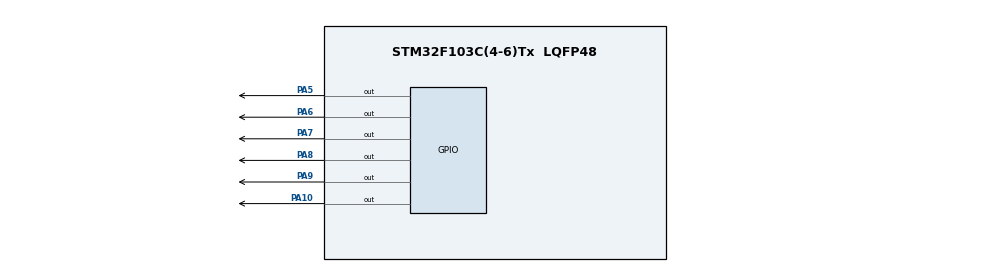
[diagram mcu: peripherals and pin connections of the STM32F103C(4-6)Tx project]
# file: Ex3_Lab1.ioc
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Mcu.Family=STM32F1
Mcu.Name=STM32F103C(4-6)Tx
Mcu.Package=LQFP48
NVIC.PriorityGroup=NVIC_PRIORITYGROUP_4
PA10.Signal=GPIO_Output
PA5.Signal=GPIO_Output
PA6.Signal=GPIO_Output
PA7.Signal=GPIO_Output
PA8.Signal=GPIO_Output
PA9.Signal=GPIO_Output
ProjectManager.HeapSize=0x200
ProjectManager.StackSize=0x400
ProjectManager.TargetToolchain=STM32CubeIDE
RCC.APB1Freq_Value=8000000
RCC.APB2Freq_Value=8000000
board=custom

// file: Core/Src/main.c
/* USER CODE BEGIN Header */
/**
  ******************************************************************************
  * @file           : main.c
  * @brief          : Main program body
  ******************************************************************************
  * @attention
  *
  * Copyright (c) 2025 STMicroelectronics.
  * All rights reserved.
  *
  * This software is licensed under terms that can be found in the LICENSE file
  * in the root directory of this software component.
  * If no LICENSE file comes with this software, it is provided AS-IS.
  *
  ******************************************************************************
  */
/* USER CODE END Header */
#include "main.h"

void SystemClock_Config(void);
static void MX_GPIO_Init(void);
/* USER CODE BEGIN PFP */
void led_1(int *f1, int *t1){
	if((*f1 == 1) && (*t1 == 0)){
		*f1 = 2;
		*t1 = 3;
	}
	else if ((*f1 == 2) && (*t1 == 0)){
		*f1 = 3;
		*t1 = 2;
	}
	else if ((*f1 == 3) && (*t1 == 0)){
		*f1 = 1;
		*t1 = 5;
	}

	if(*f1 == 1){
		HAL_GPIO_WritePin(GPIOA, GPIO_PIN_5, SET);
		HAL_GPIO_WritePin(GPIOA, GPIO_PIN_6, RESET);
	}
	else if(*f1 == 2){
		HAL_GPIO_WritePin(GPIOA, GPIO_PIN_7, SET);
		HAL_GPIO_WritePin(GPIOA, GPIO_PIN_5, RESET);
	}
	else if(*f1 == 3){
		HAL_GPIO_WritePin(GPIOA, GPIO_PIN_6, SET);
		HAL_GPIO_WritePin(GPIOA, GPIO_PIN_7, RESET);
	}
	else{
		HAL_GPIO_WritePin(GPIOA, GPIO_PIN_6, SET);
		HAL_GPIO_WritePin(GPIOA, GPIO_PIN_7, RESET);
	}
	(*t1)--;
}
void led_2(int *f2, int *t2){
	if((*f2 == 1) && (*t2 == 0)){
		*f2 = 2;
		*t2 = 3;
	}
	else if((*f2 == 2) && (*t2 == 0)){
		*f2 = 3;
		*t2 = 2;
	}
	else if((*f2 == 3) && (*t2 == 0)){
		*f2 = 1;
		*t2 = 5;
	}
	if(*f2 == 1){
		HAL_GPIO_WritePin(GPIOA, GPIO_PIN_9, RESET);
		HAL_GPIO_WritePin(GPIOA, GPIO_PIN_8, SET);
	}
	else if(*f2 == 2){
		HAL_GPIO_WritePin(GPIOA, GPIO_PIN_8, RESET);
		HAL_GPIO_WritePin(GPIOA, GPIO_PIN_10, SET);
	}
	else if(*f2 == 3){
		HAL_GPIO_WritePin(GPIOA, GPIO_PIN_10, RESET);
		HAL_GPIO_WritePin(GPIOA, GPIO_PIN_9, SET);
	}
	else{
		HAL_GPIO_WritePin(GPIOA, GPIO_PIN_9, RESET);
		HAL_GPIO_WritePin(GPIOA, GPIO_PIN_9, SET);
	}
	(*t2)--;
}
/* USER CODE END PFP */

int main(void)
{

  /* MCU Configuration--------------------------------------------------------*/

  /* Reset of all peripherals, Initializes the Flash interface and the Systick. */
  HAL_Init();

  /* Configure the system clock */
  SystemClock_Config();

  /* Initialize all configured peripherals */
  MX_GPIO_Init();
  /* USER CODE BEGIN 2 */
  	int f1 = 2;
    int t1 = 3;
    int f2 = 1;
    int t2 = 5;
  /* USER CODE END 2 */

  /* Infinite loop */
  /* USER CODE BEGIN WHILE */
  while (1)
  {
	 led_1(&f1, &t1);
	 led_2(&f2, &t2);
	 HAL_Delay(1000);
	/* USER CODE END WHILE */

  }
}

void SystemClock_Config(void)
{
  RCC_OscInitTypeDef RCC_OscInitStruct = {0};
  RCC_ClkInitTypeDef RCC_ClkInitStruct = {0};

  /** Initializes the RCC Oscillators according to the specified parameters
  * in the RCC_OscInitTypeDef structure.
  */
  RCC_OscInitStruct.OscillatorType = RCC_OSCILLATORTYPE_HSI;
  RCC_OscInitStruct.HSIState = RCC_HSI_ON;
  RCC_OscInitStruct.HSICalibrationValue = RCC_HSICALIBRATION_DEFAULT;
  RCC_OscInitStruct.PLL.PLLState = RCC_PLL_NONE;
  if (HAL_RCC_OscConfig(&RCC_OscInitStruct) != HAL_OK)
  {
    Error_Handler();
  }

  /** Initializes the CPU, AHB and APB buses clocks
  */
  RCC_ClkInitStruct.ClockType = RCC_CLOCKTYPE_HCLK|RCC_CLOCKTYPE_SYSCLK
                              |RCC_CLOCKTYPE_PCLK1|RCC_CLOCKTYPE_PCLK2;
  RCC_ClkInitStruct.SYSCLKSource = RCC_SYSCLKSOURCE_HSI;
  RCC_ClkInitStruct.AHBCLKDivider = RCC_SYSCLK_DIV1;
  RCC_ClkInitStruct.APB1CLKDivider = RCC_HCLK_DIV1;
  RCC_ClkInitStruct.APB2CLKDivider = RCC_HCLK_DIV1;

  if (HAL_RCC_ClockConfig(&RCC_ClkInitStruct, FLASH_LATENCY_0) != HAL_OK)
  {
    Error_Handler();
  }
}

static void MX_GPIO_Init(void)
{
  GPIO_InitTypeDef GPIO_InitStruct = {0};

  /* GPIO Ports Clock Enable */
  __HAL_RCC_GPIOA_CLK_ENABLE();

  /*Configure GPIO pin Output Level */
  HAL_GPIO_WritePin(GPIOA, GPIO_PIN_5|GPIO_PIN_6|GPIO_PIN_7|GPIO_PIN_8
                          |GPIO_PIN_9|GPIO_PIN_10, GPIO_PIN_RESET);

  /*Configure GPIO pins : PA5 PA6 PA7 PA8
                           PA9 PA10 */
  GPIO_InitStruct.Pin = GPIO_PIN_5|GPIO_PIN_6|GPIO_PIN_7|GPIO_PIN_8
                          |GPIO_PIN_9|GPIO_PIN_10;
  GPIO_InitStruct.Mode = GPIO_MODE_OUTPUT_PP;
  GPIO_InitStruct.Pull = GPIO_NOPULL;
  GPIO_InitStruct.Speed = GPIO_SPEED_FREQ_LOW;
  HAL_GPIO_Init(GPIOA, &GPIO_InitStruct);

}

void Error_Handler(void)
{
  __disable_irq();
  while (1)
  {
  }
}
